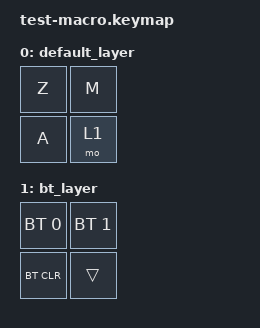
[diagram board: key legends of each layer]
#include <behaviors.dtsi>
#include <dt-bindings/zmk/keys.h>
#include <dt-bindings/zmk/bt.h>

/ {
    keymap {
        compatible = "zmk,keymap";

        default_layer {
            bindings = <
                &kp Z   &kp M
                &kp A   &mo 1
            >;
        };

        bt_layer {
            bindings = <
                &bt BT_SEL 0    &bt BT_SEL 1
                &bt BT_CLR      &trans
            >;
        };
    };
};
